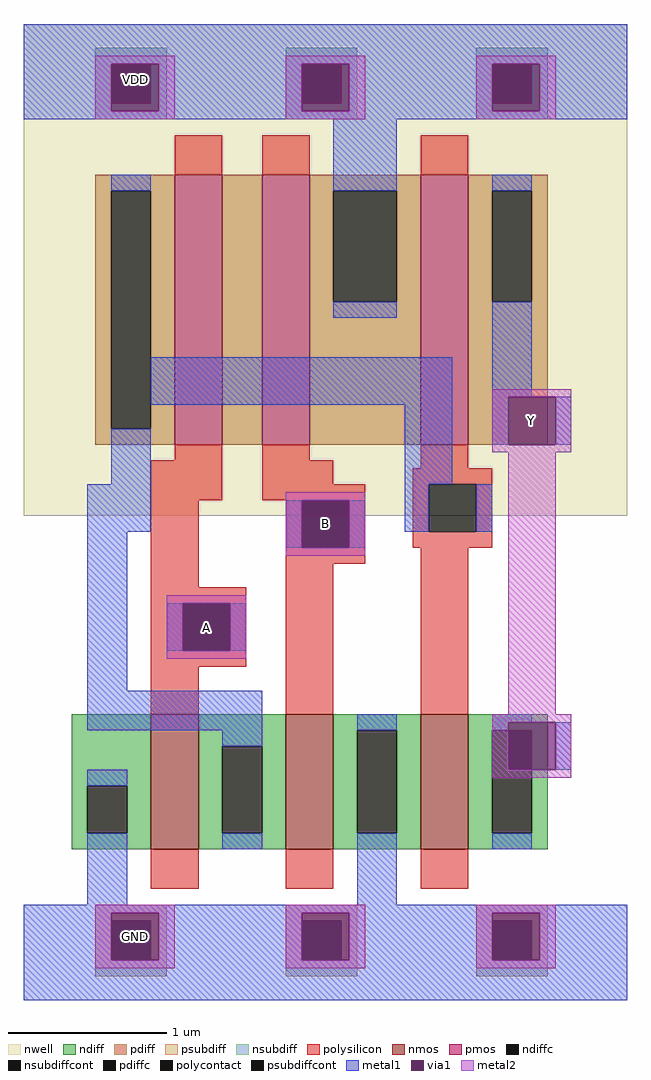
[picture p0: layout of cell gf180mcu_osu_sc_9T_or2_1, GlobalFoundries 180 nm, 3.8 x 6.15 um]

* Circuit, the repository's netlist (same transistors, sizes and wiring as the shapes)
* NGSPICE file created from gf180mcu_osu_sc_9T_or2_1.ext - technology: gf180mcuC

.inc "/import/yukari1/lrburle/globalfoundries-pdk-libs-gf180mcu_osu_sc/char/techfiles/design.hspice"
.lib "/import/yukari1/lrburle/globalfoundries-pdk-libs-gf180mcu_osu_sc/char/techfiles/sm141064.hspice" typical

X0 VDD B a_25_70# VDD pmos_3p3 w=1.7u l=0.3u
X1 Y a_9_70# GND GND nmos_3p3 w=0.85u l=0.3u
X2 a_9_70# A GND GND nmos_3p3 w=0.85u l=0.3u
X3 a_25_70# A a_9_70# VDD pmos_3p3 w=1.7u l=0.3u
X4 Y a_9_70# VDD VDD pmos_3p3 w=1.7u l=0.3u
X5 GND B a_9_70# GND nmos_3p3 w=0.85u l=0.3u

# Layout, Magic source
magic
tech gf180mcuC
<< nwell >>
rect 0 61 76 123
<< nmos >>
rect 16 19 22 36
rect 33 19 39 36
rect 50 19 56 36
<< pmos >>
rect 19 70 25 104
rect 30 70 36 104
rect 50 70 56 104
<< ndiff >>
rect 6 27 16 36
rect 6 21 8 27
rect 13 21 16 27
rect 6 19 16 21
rect 22 32 33 36
rect 22 21 25 32
rect 30 21 33 32
rect 22 19 33 21
rect 39 34 50 36
rect 39 21 42 34
rect 47 21 50 34
rect 39 19 50 21
rect 56 34 66 36
rect 56 21 59 34
rect 64 21 66 34
rect 56 19 66 21
<< pdiff >>
rect 9 102 19 104
rect 9 72 11 102
rect 16 72 19 102
rect 9 70 19 72
rect 25 70 30 104
rect 36 102 50 104
rect 36 88 39 102
rect 47 88 50 102
rect 36 70 50 88
rect 56 102 66 104
rect 56 88 59 102
rect 64 88 66 102
rect 56 70 66 88
<< ndiffc >>
rect 8 21 13 27
rect 25 21 30 32
rect 42 21 47 34
rect 59 21 64 34
<< pdiffc >>
rect 11 72 16 102
rect 39 88 47 102
rect 59 88 64 102
<< psubdiff >>
rect 9 10 18 12
rect 9 5 11 10
rect 16 5 18 10
rect 9 3 18 5
rect 33 10 42 12
rect 33 5 35 10
rect 40 5 42 10
rect 33 3 42 5
rect 57 10 66 12
rect 57 5 59 10
rect 64 5 66 10
rect 57 3 66 5
<< nsubdiff >>
rect 9 118 18 120
rect 9 113 11 118
rect 16 113 18 118
rect 9 111 18 113
rect 33 118 42 120
rect 33 113 35 118
rect 40 113 42 118
rect 33 111 42 113
rect 57 118 66 120
rect 57 113 59 118
rect 64 113 66 118
rect 57 111 66 113
<< psubdiffcont >>
rect 11 5 16 10
rect 35 5 40 10
rect 59 5 64 10
<< nsubdiffcont >>
rect 11 113 16 118
rect 35 113 40 118
rect 59 113 64 118
<< polysilicon >>
rect 19 104 25 109
rect 30 104 36 109
rect 50 104 56 109
rect 19 68 25 70
rect 16 63 25 68
rect 30 68 36 70
rect 30 65 39 68
rect 50 67 56 70
rect 49 65 59 67
rect 30 63 43 65
rect 16 52 22 63
rect 33 57 35 63
rect 41 57 43 63
rect 49 59 51 65
rect 57 59 59 65
rect 49 57 59 59
rect 33 55 43 57
rect 16 50 28 52
rect 16 44 20 50
rect 26 44 28 50
rect 16 42 28 44
rect 16 36 22 42
rect 33 36 39 55
rect 50 36 56 57
rect 16 14 22 19
rect 33 14 39 19
rect 50 14 56 19
<< polycontact >>
rect 35 57 41 63
rect 51 59 57 65
rect 20 44 26 50
<< metal1 >>
rect 0 118 76 123
rect 0 112 11 118
rect 17 112 35 118
rect 41 112 59 118
rect 65 112 76 118
rect 0 111 76 112
rect 11 102 16 104
rect 39 102 47 111
rect 39 86 47 88
rect 59 102 64 104
rect 16 75 54 81
rect 11 65 16 72
rect 8 59 16 65
rect 48 65 54 75
rect 59 76 64 88
rect 59 70 61 76
rect 67 70 69 76
rect 8 39 13 59
rect 33 57 35 63
rect 41 57 43 63
rect 48 59 51 65
rect 57 59 59 65
rect 18 44 20 50
rect 26 44 28 50
rect 8 34 30 39
rect 25 32 30 34
rect 8 27 13 29
rect 8 12 13 21
rect 25 19 30 21
rect 42 34 47 36
rect 42 12 47 21
rect 59 35 64 36
rect 59 34 61 35
rect 67 29 69 35
rect 59 19 64 21
rect 0 11 76 12
rect 0 5 11 11
rect 17 5 35 11
rect 41 5 59 11
rect 65 5 76 11
rect 0 0 76 5
<< via1 >>
rect 11 113 16 118
rect 16 113 17 118
rect 11 112 17 113
rect 35 113 40 118
rect 40 113 41 118
rect 35 112 41 113
rect 59 113 64 118
rect 64 113 65 118
rect 59 112 65 113
rect 61 70 67 76
rect 35 57 41 63
rect 20 44 26 50
rect 61 34 67 35
rect 61 29 64 34
rect 64 29 67 34
rect 11 10 17 11
rect 11 5 16 10
rect 16 5 17 10
rect 35 10 41 11
rect 35 5 40 10
rect 40 5 41 10
rect 59 10 65 11
rect 59 5 64 10
rect 64 5 65 10
<< metal2 >>
rect 9 118 19 119
rect 9 112 11 118
rect 17 112 19 118
rect 9 111 19 112
rect 33 118 43 119
rect 33 112 35 118
rect 41 112 43 118
rect 33 111 43 112
rect 57 118 67 119
rect 57 112 59 118
rect 65 112 67 118
rect 57 111 67 112
rect 59 76 69 77
rect 59 70 61 76
rect 67 70 69 76
rect 59 69 69 70
rect 33 63 43 64
rect 33 57 35 63
rect 41 57 43 63
rect 33 56 43 57
rect 18 50 28 51
rect 18 44 20 50
rect 26 44 28 50
rect 18 43 28 44
rect 61 36 67 69
rect 59 35 69 36
rect 59 29 61 35
rect 67 29 69 35
rect 59 28 69 29
rect 9 11 19 12
rect 9 5 11 11
rect 17 5 19 11
rect 9 4 19 5
rect 33 11 43 12
rect 33 5 35 11
rect 41 5 43 11
rect 33 4 43 5
rect 57 11 67 12
rect 57 5 59 11
rect 65 5 67 11
rect 57 4 67 5
<< labels >>
rlabel metal2 14 116 14 116 1 VDD
rlabel metal2 14 8 14 8 1 GND
rlabel metal2 23 47 23 47 1 A
port 2 n
rlabel metal2 38 60 38 60 1 B
port 1 n
rlabel metal2 64 73 64 73 1 Y
port 3 n
<< end >>
